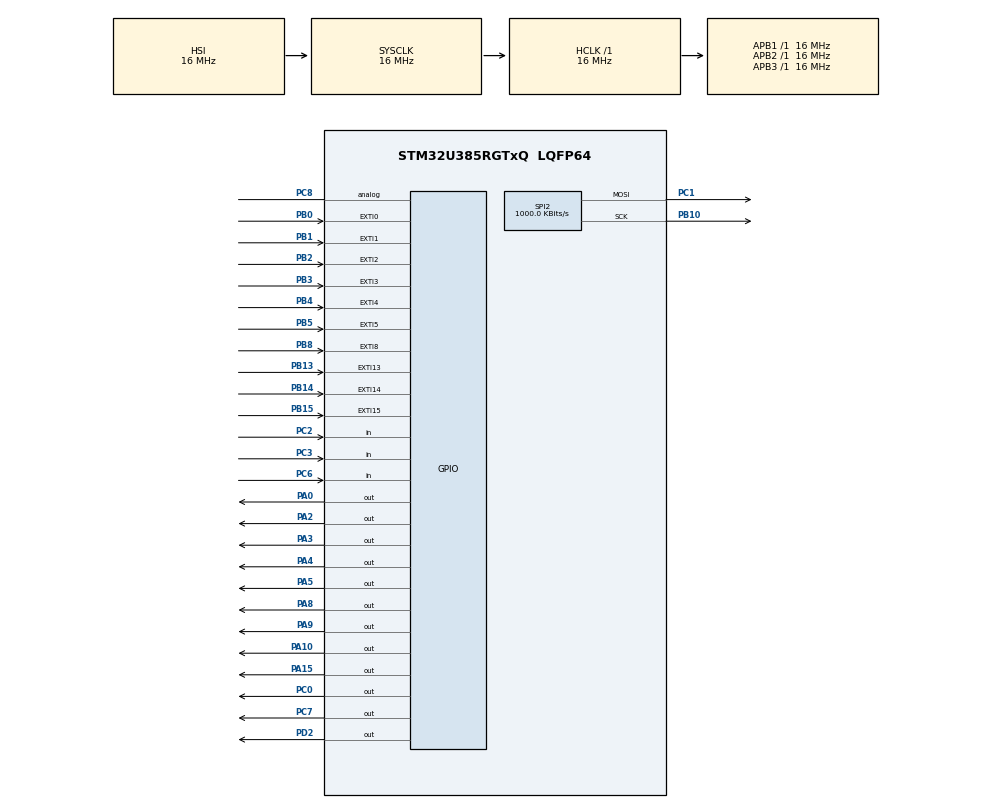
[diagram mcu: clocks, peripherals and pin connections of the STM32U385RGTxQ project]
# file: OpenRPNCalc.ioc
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ADC1.Channel-0\#ChannelRegularConversion=ADC_CHANNEL_VREFINT
ADC1.MonitoredBy-0\#ChannelRegularConversion=__NULL
ADC1.NbrOfConversionFlag=1
ADC1.OffsetNumber-0\#ChannelRegularConversion=ADC_OFFSET_NONE
ADC1.Rank-0\#ChannelRegularConversion=1
ADC1.SamplingTime-0\#ChannelRegularConversion=ADC_SAMPLETIME_1CYCLE_5
ADC1.master=1
CORTEX_M33_NS.userName=CORTEX_M33
LPTIM1.Period=16384
Mcu.Family=STM32U3
Mcu.Name=STM32U385RGTxQ
Mcu.Package=LQFP64
NVIC.EXTI0_IRQn=true\:0\:0\:false\:false\:true\:true\:true\:true
NVIC.EXTI13_IRQn=true\:0\:0\:false\:false\:true\:true\:true\:true
NVIC.EXTI14_IRQn=true\:0\:0\:false\:false\:true\:true\:true\:true
NVIC.EXTI15_IRQn=true\:0\:0\:false\:false\:true\:true\:true\:true
NVIC.EXTI1_IRQn=true\:0\:0\:false\:false\:true\:true\:true\:true
NVIC.EXTI2_IRQn=true\:0\:0\:false\:false\:true\:true\:true\:true
NVIC.EXTI3_IRQn=true\:0\:0\:false\:false\:true\:true\:true\:true
NVIC.EXTI4_IRQn=true\:0\:0\:false\:false\:true\:true\:true\:true
NVIC.EXTI5_IRQn=true\:0\:0\:false\:false\:true\:true\:true\:true
NVIC.LPTIM1_IRQn=true\:0\:0\:false\:false\:true\:true\:true\:true
NVIC.PriorityGroup=NVIC_PRIORITYGROUP_4
PA0.GPIO_ModeDefaultOutputPP=GPIO_MODE_OUTPUT_OD
PA0.GPIO_PuPd=GPIO_NOPULL
PA0.Signal=GPIO_Output
PA10.GPIO_Speed=GPIO_SPEED_FREQ_VERY_HIGH
PA10.Signal=GPIO_Output
PA13\ (JTMS/SWDIO).Mode=Serial_Wire
PA13\ (JTMS/SWDIO).Signal=DEBUG_JTMS-SWDIO
PA14\ (JTCK/SWCLK).Mode=Serial_Wire
PA14\ (JTCK/SWCLK).Signal=DEBUG_JTCK-SWCLK
PA15\ (JTDI).Signal=GPIO_Output
PA2.GPIO_ModeDefaultOutputPP=GPIO_MODE_OUTPUT_OD
PA2.GPIO_PuPd=GPIO_NOPULL
PA2.Signal=GPIO_Output
PA3.GPIO_ModeDefaultOutputPP=GPIO_MODE_OUTPUT_OD
PA3.GPIO_PuPd=GPIO_NOPULL
PA3.Signal=GPIO_Output
PA4.GPIO_ModeDefaultOutputPP=GPIO_MODE_OUTPUT_OD
PA4.GPIO_PuPd=GPIO_NOPULL
PA4.Signal=GPIO_Output
PA5.GPIO_ModeDefaultOutputPP=GPIO_MODE_OUTPUT_OD
PA5.GPIO_PuPd=GPIO_NOPULL
PA5.Signal=GPIO_Output
PA8.GPIO_ModeDefaultOutputPP=GPIO_MODE_OUTPUT_OD
PA8.GPIO_PuPd=GPIO_NOPULL
PA8.Signal=GPIO_Output
PA9.GPIO_Speed=GPIO_SPEED_FREQ_VERY_HIGH
PA9.Signal=GPIO_Output
PB0.GPIO_ModeDefaultEXTI=GPIO_MODE_IT_FALLING
PB0.Signal=GPXTI0
PB1.GPIO_ModeDefaultEXTI=GPIO_MODE_IT_FALLING
PB1.Signal=GPXTI1
PB10.GPIO_Speed=GPIO_SPEED_FREQ_VERY_HIGH
PB10.Mode=TX_Only_Simplex_Unidirect_Master
PB10.Signal=SPI2_SCK
PB13.GPIO_ModeDefaultEXTI=GPIO_MODE_IT_FALLING
PB13.Signal=GPXTI13
PB14.GPIO_ModeDefaultEXTI=GPIO_MODE_IT_FALLING
PB14.Signal=GPXTI14
PB15.Signal=GPXTI15
PB2.GPIO_ModeDefaultEXTI=GPIO_MODE_IT_FALLING
PB2.Signal=GPXTI2
PB3\ (JTDO/TRACESWO).GPIO_ModeDefaultEXTI=GPIO_MODE_IT_FALLING
PB3\ (JTDO/TRACESWO).Signal=GPXTI3
PB4\ (NJTRST).GPIO_ModeDefaultEXTI=GPIO_MODE_IT_FALLING
PB4\ (NJTRST).Signal=GPXTI4
PB5.GPIO_ModeDefaultEXTI=GPIO_MODE_IT_FALLING
PB5.Signal=GPXTI5
PB8.GPIO_ModeDefaultEXTI=GPIO_MODE_IT_FALLING
PB8.GPIO_PuPd=GPIO_PULLUP
PB8.Signal=GPXTI8
PC0.GPIO_Speed=GPIO_SPEED_FREQ_VERY_HIGH
PC0.Signal=GPIO_Output
PC1.GPIO_Speed=GPIO_SPEED_FREQ_VERY_HIGH
PC1.Mode=TX_Only_Simplex_Unidirect_Master
PC1.Signal=SPI2_MOSI
PC2.GPIO_PuPd=GPIO_PULLUP
PC2.Signal=GPIO_Input
PC3.GPIO_PuPd=GPIO_NOPULL
PC3.Signal=GPIO_Input
PC6.GPIO_PuPd=GPIO_PULLUP
PC6.Signal=GPIO_Input
PC7.GPIO_ModeDefaultOutputPP=GPIO_MODE_OUTPUT_OD
PC7.GPIO_PuPd=GPIO_NOPULL
PC7.PinState=GPIO_PIN_SET
PC7.Signal=GPIO_Output
PC8.Signal=GPIO_Analog
PD2.Signal=GPIO_Output
ProjectManager.HeapSize=0x200
ProjectManager.StackSize=0x400
ProjectManager.TargetToolchain=STM32CubeIDE
RCC.ADCFreq_Value=16000000
RCC.AHBFreq_Value=16000000
RCC.APB1Freq_Value=16000000
RCC.APB1TimFreq_Value=16000000
RCC.APB2Freq_Value=16000000
RCC.APB2TimFreq_Value=16000000
RCC.APB3Freq_Value=16000000
RCC.CortexFreq_Value=2000000
RCC.HCLKFreq_Value=16000000
RCC.HSE_VALUE=16000000
RCC.HSI48_VALUE=48000000
RCC.HSI_VALUE=16000000
RCC.ICLKCLockSelection=RCC_ICLKCLKSOURCE_MSIK
RCC.LPTIM1CLockSelection=RCC_LPTIM1CLKSOURCE_LSI
RCC.LSE_VALUE=32768
RCC.LSIDIV_VALUE=32000
RCC.MSIKDIV=RCC_MSI_DIV2
RCC.PWR_Regulator_Voltage_Scale=PWR_REGULATOR_VOLTAGE_SCALE2
RCC.SYSCLKFreq_VALUE=16000000
RCC.SYSCLKSource=RCC_SYSCLKSOURCE_HSI
RCC.USBFreq_Value=48000000
SPI2.BaudRatePrescaler=SPI_BAUDRATEPRESCALER_16
SPI2.CLKPolarity=SPI_POLARITY_HIGH
SPI2.CalculateBaudRate=1000.0 KBits/s
SPI2.DataSize=SPI_DATASIZE_8BIT
SPI2.Direction=SPI_DIRECTION_2LINES_TXONLY
SPI2.FirstBit=SPI_FIRSTBIT_LSB
SPI2.Mode=SPI_MODE_MASTER
SPI2.NSSPMode=SPI_NSS_PULSE_DISABLE
SPI2.VirtualType=VM_MASTER
TIM1.Prescaler=7
VP_ADC1_Vref_Input.Mode=IN-Vrefint
VP_ICACHE_VS_ICACHE.Mode=DirectMappedCache
VP_LPTIM1_VS_LPTIM_counterModeInternalClock.Mode=Counts__internal_clock_event_00
VP_PWR_VS_DBSignals.Mode=DisableDeadBatterySignals
VP_PWR_VS_LPOM.Mode=PowerOptimisation
VP_PWR_VS_SECSignals.Mode=Security/Privilege
VP_TIM1_VS_ClockSourceINT.Mode=Internal
board=custom

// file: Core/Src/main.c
/* USER CODE BEGIN Header */
/**
  ******************************************************************************
  * @file           : main.c
  * @brief          : Main program body
  ******************************************************************************
  * @attention
  *
  * Copyright (c) 2025 STMicroelectronics.
  * All rights reserved.
  *
  * This software is licensed under terms that can be found in the LICENSE file
  * in the root directory of this software component.
  * If no LICENSE file comes with this software, it is provided AS-IS.
  *
  ******************************************************************************
  */
/* USER CODE END Header */
#include "main.h"

/* USER CODE BEGIN Includes */
#include <stdio.h>
#include "string.h"
#include "fonts.h"
#include "sharp.h"
#include "calc.h"
#include "io.h"
/* USER CODE END Includes */

/* USER CODE BEGIN PD */

#define NUM_COLUMN_PINS 6
#define NUM_ROW_PINS 9

#define OFF_TIMEOUT (5*120) // 5 min timeout before switching off

/* USER CODE END PD */

ADC_HandleTypeDef hadc1;

LPTIM_HandleTypeDef hlptim1;

SPI_HandleTypeDef hspi2;

TIM_HandleTypeDef htim1;

/* USER CODE BEGIN PV */

int off;
int timeout_counter;

const uint16_t row_pin_array[NUM_ROW_PINS] = {
		GPIO_PIN_0, GPIO_PIN_1, GPIO_PIN_2, GPIO_PIN_3,
		GPIO_PIN_4, GPIO_PIN_5, GPIO_PIN_13, GPIO_PIN_14, GPIO_PIN_15};

const uint16_t column_pin_array[NUM_COLUMN_PINS] = {
		GPIO_PIN_0, GPIO_PIN_2, GPIO_PIN_3,
		GPIO_PIN_4, GPIO_PIN_5, GPIO_PIN_8};

/* USER CODE END PV */

void SystemClock_Config(void);
static void MX_GPIO_Init(void);
static void MX_ICACHE_Init(void);
static void MX_LPTIM1_Init(void);
static void MX_TIM1_Init(void);
static void MX_SPI2_Init(void);
static void MX_ADC1_Init(void);

/* USER CODE BEGIN 0 */

// Switch input pins back to interrupt mode
// and put STM to STOP
void put_to_sleep() {
	GPIO_InitTypeDef GPIO_InitStruct = {0};

	if (off) {
		// Only set the row pin corresponding to ON/OFF key to ext. interrupt mode
		GPIO_InitStruct.Pin = GPIO_PIN_15;
		GPIO_InitStruct.Pull = GPIO_PULLUP; // Use external 1M pull-up to minimise current draw
		GPIO_InitStruct.Mode = GPIO_MODE_IT_RISING_FALLING;
		HAL_GPIO_Init(GPIOB, &GPIO_InitStruct);

		GPIO_InitStruct.Pin = GPIO_PIN_0|GPIO_PIN_1|GPIO_PIN_2|GPIO_PIN_3
				|GPIO_PIN_4|GPIO_PIN_5|GPIO_PIN_13|GPIO_PIN_14;
		GPIO_InitStruct.Mode = GPIO_MODE_INPUT;
		GPIO_InitStruct.Pull = GPIO_PULLUP; // Use external 1M pull-up to minimise current draw
		HAL_GPIO_Init(GPIOB, &GPIO_InitStruct);
	} else {
		GPIO_InitStruct.Pin = GPIO_PIN_0|GPIO_PIN_1|GPIO_PIN_2|GPIO_PIN_3
				|GPIO_PIN_4|GPIO_PIN_5|GPIO_PIN_13|GPIO_PIN_14|GPIO_PIN_15;
		GPIO_InitStruct.Pull = GPIO_PULLUP;
		GPIO_InitStruct.Mode = GPIO_MODE_IT_RISING_FALLING;
		HAL_GPIO_Init(GPIOB, &GPIO_InitStruct);
	}
	// Delay 100 us for all transitional processes to finish
	// e.g. OD pins with external pull-ups take a long time to change state
	delay_us(100);

	HAL_PWR_EnableSleepOnExit();
	HAL_SuspendTick();
	HAL_PWR_EnterSTOPMode(PWR_LOWPOWERMODE_STOP2, PWR_STOPENTRY_WFI);
}

// Switch input pins to simple "INPUT" mode (no interrupt)
// Called after waking up for keyboard matrix scan
// Internal pull-up is enabled for faster response
void switch_input() {
	GPIO_InitTypeDef GPIO_InitStruct = {0};

	GPIO_InitStruct.Pin = GPIO_PIN_0|GPIO_PIN_1|GPIO_PIN_2|GPIO_PIN_3
			|GPIO_PIN_4|GPIO_PIN_5|GPIO_PIN_13|GPIO_PIN_14|GPIO_PIN_15;
	GPIO_InitStruct.Mode = GPIO_MODE_INPUT;
	GPIO_InitStruct.Pull = GPIO_PULLUP;
	HAL_GPIO_Init(GPIOB, &GPIO_InitStruct);
}

uint16_t scan_keyboard(void) {
	int16_t pressed_row = 0;
	int16_t pressed_column = -1;
	uint16_t multiple_key_press = 0;

	// Set all output column pins to high
	for (uint16_t column = 0; column < NUM_COLUMN_PINS; column++) {
		HAL_GPIO_WritePin(GPIOA, column_pin_array[column], GPIO_PIN_SET);
	}

	// Scan columns
	for (int16_t column = 0; column < NUM_COLUMN_PINS; column++) {
		HAL_GPIO_WritePin(GPIOA, column_pin_array[column], GPIO_PIN_RESET); // Set column pin to low
		delay_us(20);   // Small delay (20 us) for all transitional processes to finish

		// Read row pins
		for (int16_t row = 0; row < NUM_ROW_PINS; row++) {
			GPIO_PinState status = HAL_GPIO_ReadPin(GPIOB, row_pin_array[row]);
			if (status == GPIO_PIN_RESET) {
				if (pressed_column == -1) {
					pressed_row = row;
					pressed_column = column;
				} else {
					// Another key press already registered
					multiple_key_press = 1;
				}
			}
		}

		HAL_GPIO_WritePin(GPIOA, column_pin_array[column], GPIO_PIN_SET); // Set column pin back to high
	}

	// Reset all output column pins to low
	for (uint16_t column = 0; column < NUM_COLUMN_PINS; column++) {
		HAL_GPIO_WritePin(GPIOA, column_pin_array[column], GPIO_PIN_RESET);
	}

	if (pressed_column >= 0 && !multiple_key_press)
		// Only if single key pressed
		return (pressed_column + pressed_row*NUM_COLUMN_PINS + 1);
	else
		// Return 0 if no keys or multiple keys pressed
		return 0;
}

/* USER CODE END 0 */

int main(void)
{

  /* MCU Configuration--------------------------------------------------------*/

  /* Reset of all peripherals, Initializes the Flash interface and the Systick. */
  HAL_Init();

  /* USER CODE BEGIN Init */

  off = 0;
  timeout_counter = 0;

  /* USER CODE END Init */

  /* Configure the system clock */
  SystemClock_Config();

  /* USER CODE BEGIN SysInit */
  HAL_PWREx_ConfigSupply(PWR_SMPS_SUPPLY);

  /* USER CODE END SysInit */

  /* Initialize all configured peripherals */
  MX_GPIO_Init();
  MX_ICACHE_Init();
  MX_LPTIM1_Init();
  MX_TIM1_Init();
  MX_SPI2_Init();
  MX_ADC1_Init();
  /* USER CODE BEGIN 2 */

  HAL_LPTIM_TimeOut_Start_IT(&hlptim1, 8192);
  HAL_GPIO_WritePin(GPIOA, GPIO_PIN_15, GPIO_PIN_SET); // 5V booster enable

  sharp_init(&htim1, &hspi2);
  sharp_clear();

  uint16_t keycode = scan_keyboard();
  if (keycode == 49) { // RESET with "F" button pressed
	memset(buffer, 0xFF, BUFFER_SIZE);
	sharp_string("Waiting ST-LINK", &font_24x40, 10, 0);
	sharp_send_buffer(120, 40);
	HAL_Delay(30000); // Delay to connect ST-Link probe
	sharp_clear();
  }

  uint16_t last_keycode = keycode;

  calc_init();

  /* USER CODE END 2 */

  /* Infinite loop */
  /* USER CODE BEGIN WHILE */

  while (1)
  {
		uint16_t keycode = 0;
		timeout_counter = 0;

		switch_input();

		HAL_Delay(10); // Debouncing delay in ms

		keycode = scan_keyboard();

		if (keycode == 54 && off && last_keycode == 0) {  // Calculator was OFF and the ON button was pressed
			HAL_GPIO_WritePin(GPIOA, GPIO_PIN_15, GPIO_PIN_SET); // 5V booster enable
			HAL_Delay(1); // Wait while 5V rises
			HAL_GPIO_WritePin(GPIOA, GPIO_PIN_10, GPIO_PIN_SET); // DISP signal to "ON"
			delay_us(30);
			keycode = 0;
			off = 0;
			sharp_clear();
			calc_refresh();
		}
		int ret = 1;

		if (!off) {

			if (keycode) {
				ret = calc_on_key(keycode);
			}

			if (!ret) {  // OFF command received
				delay_us(30);
				HAL_GPIO_WritePin(GPIOA, GPIO_PIN_10, GPIO_PIN_RESET);  // DISP signal to "OFF"
				delay_us(30);
				HAL_GPIO_WritePin(GPIOA, GPIO_PIN_9, GPIO_PIN_RESET);   // EXTCOMIN signal of "OFF"
				HAL_GPIO_WritePin(GPIOA, GPIO_PIN_15, GPIO_PIN_RESET);  // 5V booster disable
				off = 1;
			}
		}

		last_keycode = keycode;
		put_to_sleep(off);

    /* USER CODE END WHILE */

  }
}

void SystemClock_Config(void)
{
  RCC_OscInitTypeDef RCC_OscInitStruct = {0};
  RCC_ClkInitTypeDef RCC_ClkInitStruct = {0};

  /** Configure the main internal regulator output voltage
  */
  if (HAL_PWREx_ControlVoltageScaling(PWR_REGULATOR_VOLTAGE_SCALE2) != HAL_OK)
  {
    Error_Handler();
  }

  /** Initializes the CPU, AHB and APB buses clocks
  */
  RCC_OscInitStruct.OscillatorType = RCC_OSCILLATORTYPE_HSI|RCC_OSCILLATORTYPE_LSI;
  RCC_OscInitStruct.HSIState = RCC_HSI_ON;
  RCC_OscInitStruct.HSICalibrationValue = RCC_HSICALIBRATION_DEFAULT;
  RCC_OscInitStruct.LSIState = RCC_LSI_ON;
  RCC_OscInitStruct.LSIDiv = RCC_LSI_DIV1;
  if (HAL_RCC_OscConfig(&RCC_OscInitStruct) != HAL_OK)
  {
    Error_Handler();
  }

  /** Initializes the CPU, AHB and APB buses clocks
  */
  RCC_ClkInitStruct.ClockType = RCC_CLOCKTYPE_HCLK|RCC_CLOCKTYPE_SYSCLK
                              |RCC_CLOCKTYPE_PCLK1|RCC_CLOCKTYPE_PCLK2
                              |RCC_CLOCKTYPE_PCLK3;
  RCC_ClkInitStruct.SYSCLKSource = RCC_SYSCLKSOURCE_HSI;
  RCC_ClkInitStruct.AHBCLKDivider = RCC_SYSCLK_DIV1;
  RCC_ClkInitStruct.APB1CLKDivider = RCC_HCLK_DIV1;
  RCC_ClkInitStruct.APB2CLKDivider = RCC_HCLK_DIV1;
  RCC_ClkInitStruct.APB3CLKDivider = RCC_HCLK_DIV1;

  if (HAL_RCC_ClockConfig(&RCC_ClkInitStruct, FLASH_LATENCY_0) != HAL_OK)
  {
    Error_Handler();
  }
}

static void MX_ADC1_Init(void)
{

  ADC_ChannelConfTypeDef sConfig = {0};

  /** Common config
  */
  hadc1.Instance = ADC1;
  hadc1.Init.Resolution = ADC_RESOLUTION_12B;
  hadc1.Init.GainCompensation = 0;
  hadc1.Init.ScanConvMode = ADC_SCAN_DISABLE;
  hadc1.Init.EOCSelection = ADC_EOC_SINGLE_CONV;
  hadc1.Init.LowPowerAutoWait = DISABLE;
  hadc1.Init.ContinuousConvMode = DISABLE;
  hadc1.Init.NbrOfConversion = 1;
  hadc1.Init.DiscontinuousConvMode = DISABLE;
  hadc1.Init.ExternalTrigConv = ADC_SOFTWARE_START;
  hadc1.Init.ExternalTrigConvEdge = ADC_EXTERNALTRIGCONVEDGE_NONE;
  hadc1.Init.Overrun = ADC_OVR_DATA_PRESERVED;
  hadc1.Init.LeftBitShift = ADC_LEFTBITSHIFT_NONE;
  hadc1.Init.ConversionDataManagement = ADC_CONVERSIONDATA_DR;
  hadc1.Init.OversamplingMode = DISABLE;
  if (HAL_ADC_Init(&hadc1) != HAL_OK)
  {
    Error_Handler();
  }

  /** Configure Regular Channel
  */
  sConfig.Channel = ADC_CHANNEL_VREFINT;
  sConfig.Rank = ADC_REGULAR_RANK_1;
  sConfig.SamplingTime = ADC_SAMPLETIME_1CYCLE_5;
  sConfig.OffsetNumber = ADC_OFFSET_NONE;
  sConfig.Offset = 0;
  if (HAL_ADC_ConfigChannel(&hadc1, &sConfig) != HAL_OK)
  {
    Error_Handler();
  }

}

static void MX_ICACHE_Init(void)
{

  /** Enable instruction cache in 1-way (direct mapped cache)
  */
  if (HAL_ICACHE_ConfigAssociativityMode(ICACHE_1WAY) != HAL_OK)
  {
    Error_Handler();
  }
  if (HAL_ICACHE_Enable() != HAL_OK)
  {
    Error_Handler();
  }

}

static void MX_LPTIM1_Init(void)
{

  hlptim1.Instance = LPTIM1;
  hlptim1.Init.Clock.Source = LPTIM_CLOCKSOURCE_APBCLOCK_LPOSC;
  hlptim1.Init.Clock.Prescaler = LPTIM_PRESCALER_DIV1;
  hlptim1.Init.Trigger.Source = LPTIM_TRIGSOURCE_SOFTWARE;
  hlptim1.Init.Period = 16384;
  hlptim1.Init.UpdateMode = LPTIM_UPDATE_IMMEDIATE;
  hlptim1.Init.CounterSource = LPTIM_COUNTERSOURCE_INTERNAL;
  hlptim1.Init.Input1Source = LPTIM_INPUT1SOURCE_GPIO;
  hlptim1.Init.Input2Source = LPTIM_INPUT2SOURCE_GPIO;
  hlptim1.Init.RepetitionCounter = 0;
  if (HAL_LPTIM_Init(&hlptim1) != HAL_OK)
  {
    Error_Handler();
  }

}

static void MX_SPI2_Init(void)
{

  SPI_AutonomousModeConfTypeDef HAL_SPI_AutonomousMode_Cfg_Struct = {0};

  /* SPI2 parameter configuration*/
  hspi2.Instance = SPI2;
  hspi2.Init.Mode = SPI_MODE_MASTER;
  hspi2.Init.Direction = SPI_DIRECTION_2LINES_TXONLY;
  hspi2.Init.DataSize = SPI_DATASIZE_8BIT;
  hspi2.Init.CLKPolarity = SPI_POLARITY_HIGH;
  hspi2.Init.CLKPhase = SPI_PHASE_1EDGE;
  hspi2.Init.NSS = SPI_NSS_SOFT;
  hspi2.Init.BaudRatePrescaler = SPI_BAUDRATEPRESCALER_16;
  hspi2.Init.FirstBit = SPI_FIRSTBIT_LSB;
  hspi2.Init.TIMode = SPI_TIMODE_DISABLE;
  hspi2.Init.CRCCalculation = SPI_CRCCALCULATION_DISABLE;
  hspi2.Init.CRCPolynomial = 0x7;
  hspi2.Init.NSSPMode = SPI_NSS_PULSE_DISABLE;
  hspi2.Init.NSSPolarity = SPI_NSS_POLARITY_LOW;
  hspi2.Init.FifoThreshold = SPI_FIFO_THRESHOLD_01DATA;
  hspi2.Init.MasterSSIdleness = SPI_MASTER_SS_IDLENESS_00CYCLE;
  hspi2.Init.MasterInterDataIdleness = SPI_MASTER_INTERDATA_IDLENESS_00CYCLE;
  hspi2.Init.MasterReceiverAutoSusp = SPI_MASTER_RX_AUTOSUSP_DISABLE;
  hspi2.Init.MasterKeepIOState = SPI_MASTER_KEEP_IO_STATE_DISABLE;
  hspi2.Init.IOSwap = SPI_IO_SWAP_DISABLE;
  hspi2.Init.ReadyMasterManagement = SPI_RDY_MASTER_MANAGEMENT_INTERNALLY;
  hspi2.Init.ReadyPolarity = SPI_RDY_POLARITY_HIGH;
  if (HAL_SPI_Init(&hspi2) != HAL_OK)
  {
    Error_Handler();
  }
  HAL_SPI_AutonomousMode_Cfg_Struct.TriggerState = SPI_AUTO_MODE_DISABLE;
  HAL_SPI_AutonomousMode_Cfg_Struct.TriggerSelection = SPI_GRP1_GPDMA_CH0_TCF_TRG;
  HAL_SPI_AutonomousMode_Cfg_Struct.TriggerPolarity = SPI_TRIG_POLARITY_RISING;
  if (HAL_SPIEx_SetConfigAutonomousMode(&hspi2, &HAL_SPI_AutonomousMode_Cfg_Struct) != HAL_OK)
  {
    Error_Handler();
  }

}

static void MX_TIM1_Init(void)
{

  TIM_ClockConfigTypeDef sClockSourceConfig = {0};
  TIM_MasterConfigTypeDef sMasterConfig = {0};

  htim1.Instance = TIM1;
  htim1.Init.Prescaler = 7;
  htim1.Init.CounterMode = TIM_COUNTERMODE_UP;
  htim1.Init.Period = 65535;
  htim1.Init.ClockDivision = TIM_CLOCKDIVISION_DIV1;
  htim1.Init.RepetitionCounter = 0;
  htim1.Init.AutoReloadPreload = TIM_AUTORELOAD_PRELOAD_DISABLE;
  if (HAL_TIM_Base_Init(&htim1) != HAL_OK)
  {
    Error_Handler();
  }
  sClockSourceConfig.ClockSource = TIM_CLOCKSOURCE_INTERNAL;
  if (HAL_TIM_ConfigClockSource(&htim1, &sClockSourceConfig) != HAL_OK)
  {
    Error_Handler();
  }
  sMasterConfig.MasterOutputTrigger = TIM_TRGO_RESET;
  sMasterConfig.MasterOutputTrigger2 = TIM_TRGO2_RESET;
  sMasterConfig.MasterSlaveMode = TIM_MASTERSLAVEMODE_DISABLE;
  if (HAL_TIMEx_MasterConfigSynchronization(&htim1, &sMasterConfig) != HAL_OK)
  {
    Error_Handler();
  }

}

static void MX_GPIO_Init(void)
{
  GPIO_InitTypeDef GPIO_InitStruct = {0};

  /* GPIO Ports Clock Enable */
  __HAL_RCC_GPIOC_CLK_ENABLE();
  __HAL_RCC_GPIOH_CLK_ENABLE();
  __HAL_RCC_GPIOA_CLK_ENABLE();
  __HAL_RCC_GPIOB_CLK_ENABLE();
  __HAL_RCC_GPIOD_CLK_ENABLE();

  /*Configure GPIO pin Output Level */
  HAL_GPIO_WritePin(GPIOC, GPIO_PIN_0, GPIO_PIN_RESET);

  /*Configure GPIO pin Output Level */
  HAL_GPIO_WritePin(GPIOA, GPIO_PIN_0|GPIO_PIN_2|GPIO_PIN_3|GPIO_PIN_4
                          |GPIO_PIN_5|GPIO_PIN_8|GPIO_PIN_9|GPIO_PIN_10
                          |GPIO_PIN_15, GPIO_PIN_RESET);

  /*Configure GPIO pin Output Level */
  HAL_GPIO_WritePin(GPIOC, GPIO_PIN_7, GPIO_PIN_SET);

  /*Configure GPIO pin Output Level */
  HAL_GPIO_WritePin(GPIOD, GPIO_PIN_2, GPIO_PIN_RESET);

  /*Configure GPIO pins : PC13 PC14 PC15 PC8
                           PC9 PC10 PC11 PC12 */
  GPIO_InitStruct.Pin = GPIO_PIN_13|GPIO_PIN_14|GPIO_PIN_15|GPIO_PIN_8
                          |GPIO_PIN_9|GPIO_PIN_10|GPIO_PIN_11|GPIO_PIN_12;
  GPIO_InitStruct.Mode = GPIO_MODE_ANALOG;
  GPIO_InitStruct.Pull = GPIO_NOPULL;
  HAL_GPIO_Init(GPIOC, &GPIO_InitStruct);

  /*Configure GPIO pins : PH0 PH1 PH3 */
  GPIO_InitStruct.Pin = GPIO_PIN_0|GPIO_PIN_1|GPIO_PIN_3;
  GPIO_InitStruct.Mode = GPIO_MODE_ANALOG;
  GPIO_InitStruct.Pull = GPIO_NOPULL;
  HAL_GPIO_Init(GPIOH, &GPIO_InitStruct);

  /*Configure GPIO pin : PC0 */
  GPIO_InitStruct.Pin = GPIO_PIN_0;
  GPIO_InitStruct.Mode = GPIO_MODE_OUTPUT_PP;
  GPIO_InitStruct.Pull = GPIO_NOPULL;
  GPIO_InitStruct.Speed = GPIO_SPEED_FREQ_VERY_HIGH;
  HAL_GPIO_Init(GPIOC, &GPIO_InitStruct);

  /*Configure GPIO pins : PC2 PC6 */
  GPIO_InitStruct.Pin = GPIO_PIN_2|GPIO_PIN_6;
  GPIO_InitStruct.Mode = GPIO_MODE_INPUT;
  GPIO_InitStruct.Pull = GPIO_PULLUP;
  HAL_GPIO_Init(GPIOC, &GPIO_InitStruct);

  /*Configure GPIO pin : PC3 */
  GPIO_InitStruct.Pin = GPIO_PIN_3;
  GPIO_InitStruct.Mode = GPIO_MODE_INPUT;
  GPIO_InitStruct.Pull = GPIO_NOPULL;
  HAL_GPIO_Init(GPIOC, &GPIO_InitStruct);

  /*Configure GPIO pins : PA0 PA2 PA3 PA4
                           PA5 PA8 */
  GPIO_InitStruct.Pin = GPIO_PIN_0|GPIO_PIN_2|GPIO_PIN_3|GPIO_PIN_4
                          |GPIO_PIN_5|GPIO_PIN_8;
  GPIO_InitStruct.Mode = GPIO_MODE_OUTPUT_OD;
  GPIO_InitStruct.Pull = GPIO_NOPULL;
  GPIO_InitStruct.Speed = GPIO_SPEED_FREQ_LOW;
  HAL_GPIO_Init(GPIOA, &GPIO_InitStruct);

  /*Configure GPIO pins : PA1 PA6 PA7 PA11
                           PA12 */
  GPIO_InitStruct.Pin = GPIO_PIN_1|GPIO_PIN_6|GPIO_PIN_7|GPIO_PIN_11
                          |GPIO_PIN_12;
  GPIO_InitStruct.Mode = GPIO_MODE_ANALOG;
  GPIO_InitStruct.Pull = GPIO_NOPULL;
  HAL_GPIO_Init(GPIOA, &GPIO_InitStruct);

  /*Configure GPIO pins : PB0 PB1 PB2 PB13
                           PB14 PB3 PB4 PB5 */
  GPIO_InitStruct.Pin = GPIO_PIN_0|GPIO_PIN_1|GPIO_PIN_2|GPIO_PIN_13
                          |GPIO_PIN_14|GPIO_PIN_3|GPIO_PIN_4|GPIO_PIN_5;
  GPIO_InitStruct.Mode = GPIO_MODE_IT_FALLING;
  GPIO_InitStruct.Pull = GPIO_NOPULL;
  HAL_GPIO_Init(GPIOB, &GPIO_InitStruct);

  /*Configure GPIO pin : PB15 */
  GPIO_InitStruct.Pin = GPIO_PIN_15;
  GPIO_InitStruct.Mode = GPIO_MODE_IT_RISING;
  GPIO_InitStruct.Pull = GPIO_NOPULL;
  HAL_GPIO_Init(GPIOB, &GPIO_InitStruct);

  /*Configure GPIO pin : PC7 */
  GPIO_InitStruct.Pin = GPIO_PIN_7;
  GPIO_InitStruct.Mode = GPIO_MODE_OUTPUT_OD;
  GPIO_InitStruct.Pull = GPIO_NOPULL;
  GPIO_InitStruct.Speed = GPIO_SPEED_FREQ_LOW;
  HAL_GPIO_Init(GPIOC, &GPIO_InitStruct);

  /*Configure GPIO pins : PA9 PA10 */
  GPIO_InitStruct.Pin = GPIO_PIN_9|GPIO_PIN_10;
  GPIO_InitStruct.Mode = GPIO_MODE_OUTPUT_PP;
  GPIO_InitStruct.Pull = GPIO_NOPULL;
  GPIO_InitStruct.Speed = GPIO_SPEED_FREQ_VERY_HIGH;
  HAL_GPIO_Init(GPIOA, &GPIO_InitStruct);

  /*Configure GPIO pin : PA15 */
  GPIO_InitStruct.Pin = GPIO_PIN_15;
  GPIO_InitStruct.Mode = GPIO_MODE_OUTPUT_PP;
  GPIO_InitStruct.Pull = GPIO_NOPULL;
  GPIO_InitStruct.Speed = GPIO_SPEED_FREQ_LOW;
  HAL_GPIO_Init(GPIOA, &GPIO_InitStruct);

  /*Configure GPIO pin : PD2 */
  GPIO_InitStruct.Pin = GPIO_PIN_2;
  GPIO_InitStruct.Mode = GPIO_MODE_OUTPUT_PP;
  GPIO_InitStruct.Pull = GPIO_NOPULL;
  GPIO_InitStruct.Speed = GPIO_SPEED_FREQ_LOW;
  HAL_GPIO_Init(GPIOD, &GPIO_InitStruct);

  /*Configure GPIO pins : PB6 PB7 */
  GPIO_InitStruct.Pin = GPIO_PIN_6|GPIO_PIN_7;
  GPIO_InitStruct.Mode = GPIO_MODE_ANALOG;
  GPIO_InitStruct.Pull = GPIO_NOPULL;
  HAL_GPIO_Init(GPIOB, &GPIO_InitStruct);

  /*Configure GPIO pin : PB8 */
  GPIO_InitStruct.Pin = GPIO_PIN_8;
  GPIO_InitStruct.Mode = GPIO_MODE_IT_FALLING;
  GPIO_InitStruct.Pull = GPIO_PULLUP;
  HAL_GPIO_Init(GPIOB, &GPIO_InitStruct);

  /* EXTI interrupt init*/
  HAL_NVIC_SetPriority(EXTI0_IRQn, 0, 0);
  HAL_NVIC_EnableIRQ(EXTI0_IRQn);

  HAL_NVIC_SetPriority(EXTI1_IRQn, 0, 0);
  HAL_NVIC_EnableIRQ(EXTI1_IRQn);

  HAL_NVIC_SetPriority(EXTI2_IRQn, 0, 0);
  HAL_NVIC_EnableIRQ(EXTI2_IRQn);

  HAL_NVIC_SetPriority(EXTI3_IRQn, 0, 0);
  HAL_NVIC_EnableIRQ(EXTI3_IRQn);

  HAL_NVIC_SetPriority(EXTI4_IRQn, 0, 0);
  HAL_NVIC_EnableIRQ(EXTI4_IRQn);

  HAL_NVIC_SetPriority(EXTI5_IRQn, 0, 0);
  HAL_NVIC_EnableIRQ(EXTI5_IRQn);

  HAL_NVIC_SetPriority(EXTI13_IRQn, 0, 0);
  HAL_NVIC_EnableIRQ(EXTI13_IRQn);

  HAL_NVIC_SetPriority(EXTI14_IRQn, 0, 0);
  HAL_NVIC_EnableIRQ(EXTI14_IRQn);

  HAL_NVIC_SetPriority(EXTI15_IRQn, 0, 0);
  HAL_NVIC_EnableIRQ(EXTI15_IRQn);

}

/* USER CODE BEGIN 4 */
void HAL_GPIO_EXTI_Rising_Callback(uint16_t GPIO_Pin)
{
	SystemClock_Config ();
	HAL_ResumeTick();
	HAL_PWR_DisableSleepOnExit();
}

void HAL_GPIO_EXTI_Falling_Callback(uint16_t GPIO_Pin)
{
	SystemClock_Config ();
	HAL_ResumeTick();
	HAL_PWR_DisableSleepOnExit();
}

void HAL_LPTIM_CompareMatchCallback (LPTIM_HandleTypeDef *hlptim)
{
	if (!off) {
		timeout_counter++;
		if (timeout_counter > OFF_TIMEOUT) {
			HAL_GPIO_WritePin(GPIOA, GPIO_PIN_10, GPIO_PIN_RESET);  // DISP signal to "OFF"
			HAL_GPIO_WritePin(GPIOA, GPIO_PIN_9, GPIO_PIN_RESET);   // EXTCOMIN signal of "OFF"
			HAL_GPIO_WritePin(GPIOA, GPIO_PIN_15, GPIO_PIN_RESET);  // 5V booster disable
			off = 1;
		}

		HAL_GPIO_TogglePin(GPIOA, GPIO_PIN_9);  // Toggle LCD refresh signal (EXTIN)
	}
}

/* USER CODE END 4 */

void Error_Handler(void)
{
  __disable_irq();
  while (1)
  {
  }
}
